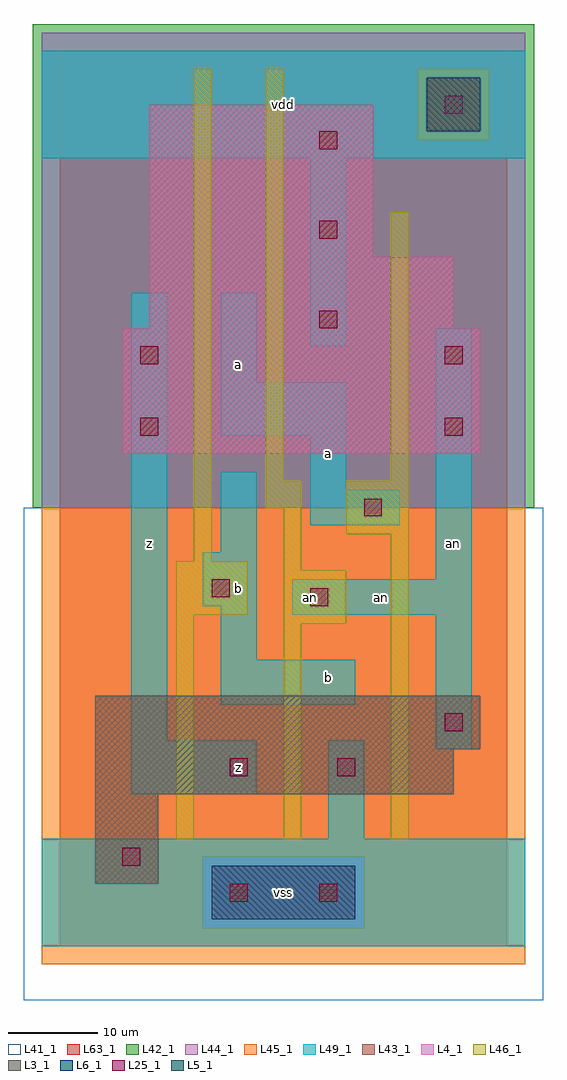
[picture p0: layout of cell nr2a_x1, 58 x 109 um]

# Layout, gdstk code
import gdstk
lib = gdstk.Library(unit=1e-6, precision=1e-09)
def R(c, l, rs):  # rectangles x0, y0, x1, y1
    for r in rs: c.add(gdstk.rectangle(r[:2], r[2:], *l))
def A(c, l, x, y, w, h, nx, ny, dx, dy):  # array of equal rectangles
    R(c, l, [(x+i*dx, y+j*dy, x+i*dx+w, y+j*dy+h) for i in range(nx) for j in range(ny)])
L3_1 = (3, 1)
L4_1 = (4, 1)
L5_1 = (5, 1)
L6_1 = (6, 1)
L25_1 = (25, 1)
L41_1 = (41, 1)
L42_1 = (42, 1)
L43_1 = (43, 1)
L44_1 = (44, 1)
L45_1 = (45, 1)
L46_1 = (46, 1)
L49_1 = (49, 1)
L63_1 = (63, 1)

nr2a_x1 = lib.new_cell('nr2a_x1')
R(nr2a_x1, L3_1, [(4,7,11,17), (4,17,44,22), (4,22,47,28)])
R(nr2a_x1, L4_1, [(7,55,47,69), (10,69,44,77), (10,77,35,94)])
R(nr2a_x1, L5_1, [(41,91,47,97)])
R(nr2a_x1, L6_1, [(17,3,33,9)])
A(nr2a_x1, L25_1, 29, 69, 2, 2, 1, 3, 0, 10)
R(nr2a_x1, L25_1, [(19,5,21,7), (29,5,31,7), (7,9,9,11), (19,19,21,21), (31,19,33,21), (43,24,45,26), (28,38,30,40), (17,39,19,41), (34,48,36,50), (9,57,11,59), (43,57,45,59), (9,65,11,67), (43,65,45,67), (43,93,45,95)])
R(nr2a_x1, L41_1, [(-4,-6,54,49), (-3,-3,53,49)])
R(nr2a_x1, L42_1, [(-3,49,53,103)])
R(nr2a_x1, L43_1, [(17,3,33,9), (4,7,11,17), (4,17,44,22), (4,22,47,28), (7,55,47,69), (10,69,44,77), (10,77,35,94), (41,91,47,97)])
R(nr2a_x1, L44_1, [(16,2,34,10), (-2,49,52,90), (-2,90,40,98), (48,90,52,98), (-2,98,52,102)])
R(nr2a_x1, L45_1, [(-2,-2,52,2), (-2,2,16,10), (34,2,52,10), (-2,10,52,49), (40,90,48,98)])
R(nr2a_x1, L46_1, [(13,12,15,37), (25,12,27,36), (37,12,39,46), (25,36,32,42), (13,37,21,43), (25,42,27,49), (15,43,17,98), (32,46,39,52), (23,49,27,52), (23,52,25,98), (37,52,39,82)])
R(nr2a_x1, L49_1, [(-2,0,52,12), (30,12,34,23), (8,17,22,23), (42,22,46,37), (8,23,12,73), (18,27,33,32), (18,32,22,38), (26,37,46,41), (16,38,22,44), (42,41,46,69), (18,44,22,53), (28,47,38,51), (28,51,32,57), (18,57,32,63), (18,63,22,73), (28,67,32,88), (-2,88,52,100)])
R(nr2a_x1, L63_1, [(0,0,50,100)])
nr2a_x1.add(gdstk.Label('an', (28,39), layer=49, texttype=1))
nr2a_x1.add(gdstk.Label('z', (20,20), layer=49, texttype=1))
nr2a_x1.add(gdstk.Label('z', (20,20), layer=49, texttype=1))
nr2a_x1.add(gdstk.Label('z', (10,45), layer=49, texttype=1))
nr2a_x1.add(gdstk.Label('z', (10,45), layer=49, texttype=1))
nr2a_x1.add(gdstk.Label('b', (20,40), layer=49, texttype=1))
nr2a_x1.add(gdstk.Label('b', (20,40), layer=49, texttype=1))
nr2a_x1.add(gdstk.Label('a', (20,65), layer=49, texttype=1))
nr2a_x1.add(gdstk.Label('a', (20,65), layer=49, texttype=1))
nr2a_x1.add(gdstk.Label('vss', (25,6), layer=49, texttype=1))
nr2a_x1.add(gdstk.Label('vss', (25,6), layer=49, texttype=1))
nr2a_x1.add(gdstk.Label('b', (30,30), layer=49, texttype=1))
nr2a_x1.add(gdstk.Label('b', (30,30), layer=49, texttype=1))
nr2a_x1.add(gdstk.Label('a', (30,55), layer=49, texttype=1))
nr2a_x1.add(gdstk.Label('a', (30,55), layer=49, texttype=1))
nr2a_x1.add(gdstk.Label('vdd', (25,94), layer=49, texttype=1))
nr2a_x1.add(gdstk.Label('vdd', (25,94), layer=49, texttype=1))
nr2a_x1.add(gdstk.Label('an', (36,39), layer=49, texttype=1))
nr2a_x1.add(gdstk.Label('an', (44,45), layer=49, texttype=1))

lib.write_gds('nr2a_x1.gds')
